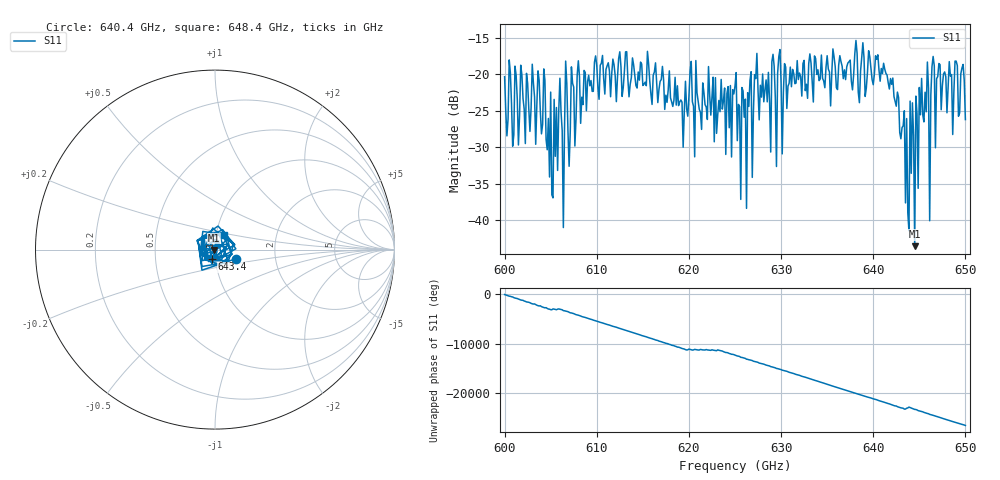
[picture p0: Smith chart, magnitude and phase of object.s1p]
!Created with skrf (http://scikit-rf.org).
# GHz S MA R 50.0
!freq magS11 angS11
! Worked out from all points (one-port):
!   401 points, 600 GHz to 650 GHz, reference 50 ohm
!   lowest |S11| = -43.5 dB at 644.5 GHz (marker M1), VSWR 1.01, Z = 49.4 - j0.177 ohm
!   |S11| at or under -10 dB: start of sweep to end of sweep
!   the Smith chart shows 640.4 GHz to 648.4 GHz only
!   S11 on the Smith chart (normalised r, x): 640.4 GHz: 1.25, -0.13; 643.4 GHz: 0.96, -0.10; 648.4 GHz: 1.09, +0.18
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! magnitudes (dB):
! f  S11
! 600 GHz  -20.3
! 604.1 GHz  -26.9
! 605 GHz  -22.4
! 605.9 GHz  -25.0
! 606.2 GHz  -27.7
! 608.1 GHz  -20.3
! 612.5 GHz  -16.9
! 618.8 GHz  -21.6
! 619.6 GHz  -21.0
! 622.4 GHz  -25.6
! 623 GHz  -28.1
! 625 GHz  -21.6
! 625.5 GHz  -24.4
! 627.2 GHz  -20.6
! 628.6 GHz  -19.8
! 631.2 GHz  -19.3
! 637.5 GHz  -18.1
! 640.4 GHz  -18.0
! 642.1 GHz  -20.5
! 643.4 GHz  -25.0
! 643.8 GHz  -38.9
! 644.5 GHz  -43.5
! 644.6 GHz  -23.0
! 645.2 GHz  -20.6
! 646 GHz  -22.0
! 646.6 GHz  -18.9
! 648.4 GHz  -20.3
! 650 GHz  -26.2
